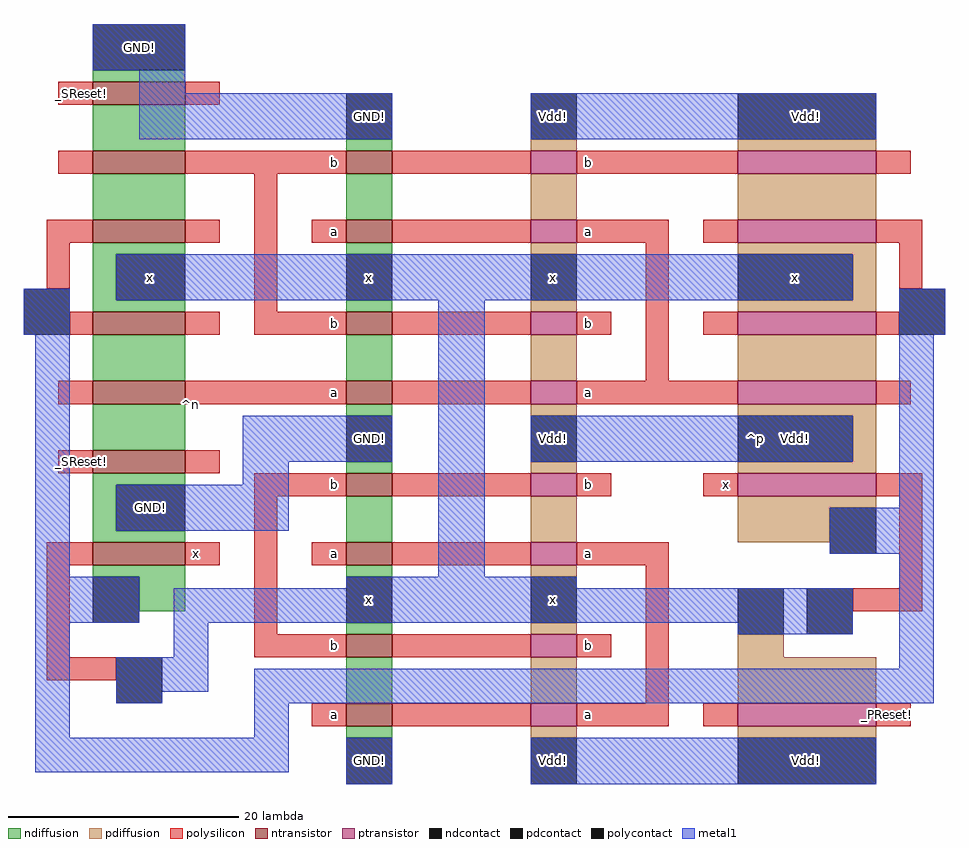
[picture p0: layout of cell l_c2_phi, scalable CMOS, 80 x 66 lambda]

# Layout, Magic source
magic
tech scmos
<< ndiffusion >>
rect 115 136 123 137
rect 115 130 123 134
rect 137 130 141 131
rect 115 124 123 128
rect 115 121 123 122
rect 115 117 117 121
rect 115 116 123 117
rect 137 124 141 128
rect 137 121 141 122
rect 137 116 141 117
rect 115 110 123 114
rect 137 110 141 114
rect 115 104 123 108
rect 137 107 141 108
rect 137 102 141 103
rect 115 101 123 102
rect 115 97 117 101
rect 115 96 123 97
rect 115 93 123 94
rect 119 90 123 93
rect 137 96 141 100
rect 137 93 141 94
rect 137 88 141 89
rect 137 82 141 86
rect 137 79 141 80
<< pdiffusion >>
rect 153 130 157 131
rect 171 130 183 131
rect 153 124 157 128
rect 171 124 183 128
rect 153 121 157 122
rect 153 116 157 117
rect 153 110 157 114
rect 171 121 183 122
rect 181 117 183 121
rect 171 116 183 117
rect 171 110 183 114
rect 153 107 157 108
rect 153 102 157 103
rect 171 107 183 108
rect 181 103 183 107
rect 171 102 183 103
rect 153 96 157 100
rect 171 99 183 100
rect 171 96 179 99
rect 153 93 157 94
rect 153 88 157 89
rect 153 82 157 86
rect 171 86 175 88
rect 171 82 183 86
rect 153 79 157 80
rect 171 79 183 80
<< ntransistor >>
rect 115 134 123 136
rect 115 128 123 130
rect 137 128 141 130
rect 115 122 123 124
rect 137 122 141 124
rect 115 114 123 116
rect 137 114 141 116
rect 115 108 123 110
rect 137 108 141 110
rect 115 102 123 104
rect 137 100 141 102
rect 115 94 123 96
rect 137 94 141 96
rect 137 86 141 88
rect 137 80 141 82
<< ptransistor >>
rect 153 128 157 130
rect 171 128 183 130
rect 153 122 157 124
rect 171 122 183 124
rect 153 114 157 116
rect 171 114 183 116
rect 153 108 157 110
rect 171 108 183 110
rect 153 100 157 102
rect 171 100 183 102
rect 153 94 157 96
rect 153 86 157 88
rect 153 80 157 82
rect 171 80 183 82
<< polysilicon >>
rect 112 134 115 136
rect 123 134 126 136
rect 112 128 115 130
rect 123 128 137 130
rect 141 128 153 130
rect 157 128 171 130
rect 183 128 186 130
rect 111 122 115 124
rect 123 122 126 124
rect 111 118 113 122
rect 129 116 131 128
rect 134 122 137 124
rect 141 122 153 124
rect 157 122 165 124
rect 168 122 171 124
rect 183 122 187 124
rect 113 114 115 116
rect 123 114 126 116
rect 129 114 137 116
rect 141 114 153 116
rect 157 114 160 116
rect 163 110 165 122
rect 185 118 187 122
rect 168 114 171 116
rect 183 114 185 116
rect 112 108 115 110
rect 123 108 137 110
rect 141 108 153 110
rect 157 108 171 110
rect 183 108 186 110
rect 112 102 115 104
rect 123 102 126 104
rect 129 100 137 102
rect 141 100 153 102
rect 157 100 160 102
rect 168 100 171 102
rect 183 100 187 102
rect 111 94 115 96
rect 123 94 126 96
rect 111 86 113 94
rect 129 88 131 100
rect 134 94 137 96
rect 141 94 153 96
rect 157 94 165 96
rect 129 86 137 88
rect 141 86 153 88
rect 157 86 160 88
rect 111 84 117 86
rect 163 82 165 94
rect 185 92 187 100
rect 181 90 187 92
rect 134 80 137 82
rect 141 80 153 82
rect 157 80 165 82
rect 168 80 171 82
rect 183 80 186 82
<< ndcontact >>
rect 115 137 123 141
rect 137 131 141 135
rect 117 117 123 121
rect 137 117 141 121
rect 137 103 141 107
rect 117 97 123 101
rect 115 89 119 93
rect 137 89 141 93
rect 137 75 141 79
<< pdcontact >>
rect 153 131 157 135
rect 171 131 183 135
rect 153 117 157 121
rect 171 117 181 121
rect 153 103 157 107
rect 171 103 181 107
rect 179 95 183 99
rect 153 89 157 93
rect 171 88 175 92
rect 153 75 157 79
rect 171 75 183 79
<< polycontact >>
rect 109 114 113 118
rect 185 114 189 118
rect 117 82 121 86
rect 177 88 181 92
<< metal1 >>
rect 115 137 123 141
rect 119 135 123 137
rect 119 131 141 135
rect 153 131 183 135
rect 109 114 113 118
rect 117 117 181 121
rect 110 93 113 114
rect 128 103 141 107
rect 128 101 132 103
rect 117 97 132 101
rect 145 93 149 117
rect 185 114 189 118
rect 153 103 181 107
rect 185 99 188 114
rect 179 95 188 99
rect 110 89 119 93
rect 137 92 157 93
rect 122 89 181 92
rect 110 79 113 89
rect 122 86 125 89
rect 171 88 181 89
rect 117 83 125 86
rect 185 85 188 95
rect 117 82 121 83
rect 129 82 188 85
rect 129 79 132 82
rect 110 76 132 79
rect 137 75 141 79
rect 153 75 183 79
<< labels >>
rlabel polysilicon 170 101 170 101 5 x
rlabel polysilicon 184 81 184 81 7 _PReset!
rlabel polysilicon 158 101 158 101 3 b
rlabel polysilicon 158 115 158 115 3 b
rlabel polysilicon 158 129 158 129 3 b
rlabel polysilicon 158 87 158 87 3 b
rlabel polysilicon 158 123 158 123 3 a
rlabel polysilicon 158 109 158 109 3 a
rlabel polysilicon 158 81 158 81 3 a
rlabel polysilicon 158 95 158 95 3 a
rlabel polysilicon 136 95 136 95 3 a
rlabel polysilicon 136 81 136 81 3 a
rlabel polysilicon 136 109 136 109 3 a
rlabel polysilicon 136 123 136 123 3 a
rlabel polysilicon 136 87 136 87 3 b
rlabel polysilicon 136 129 136 129 3 b
rlabel polysilicon 136 115 136 115 3 b
rlabel polysilicon 136 101 136 101 3 b
rlabel polysilicon 114 103 114 103 1 _SReset!
rlabel polysilicon 124 95 124 95 5 x
rlabel polysilicon 114 135 114 135 3 _SReset!
rlabel space 109 74 138 142 7 ^n
rlabel space 156 74 189 136 3 ^p
rlabel pdcontact 177 133 177 133 5 Vdd!
rlabel pdcontact 177 77 177 77 1 Vdd!
rlabel pdcontact 176 105 176 105 1 Vdd!
rlabel pdcontact 176 119 176 119 1 x
rlabel pdcontact 155 77 155 77 1 Vdd!
rlabel pdcontact 155 133 155 133 5 Vdd!
rlabel pdcontact 155 119 155 119 1 x
rlabel pdcontact 155 91 155 91 1 x
rlabel pdcontact 155 105 155 105 1 Vdd!
rlabel ndcontact 139 105 139 105 1 GND!
rlabel ndcontact 139 91 139 91 1 x
rlabel ndcontact 139 119 139 119 1 x
rlabel ndcontact 139 77 139 77 1 GND!
rlabel ndcontact 139 133 139 133 5 GND!
rlabel ndcontact 120 99 120 99 1 GND!
rlabel ndcontact 120 119 120 119 1 x
rlabel ndcontact 119 139 119 139 5 GND!
<< end >>
